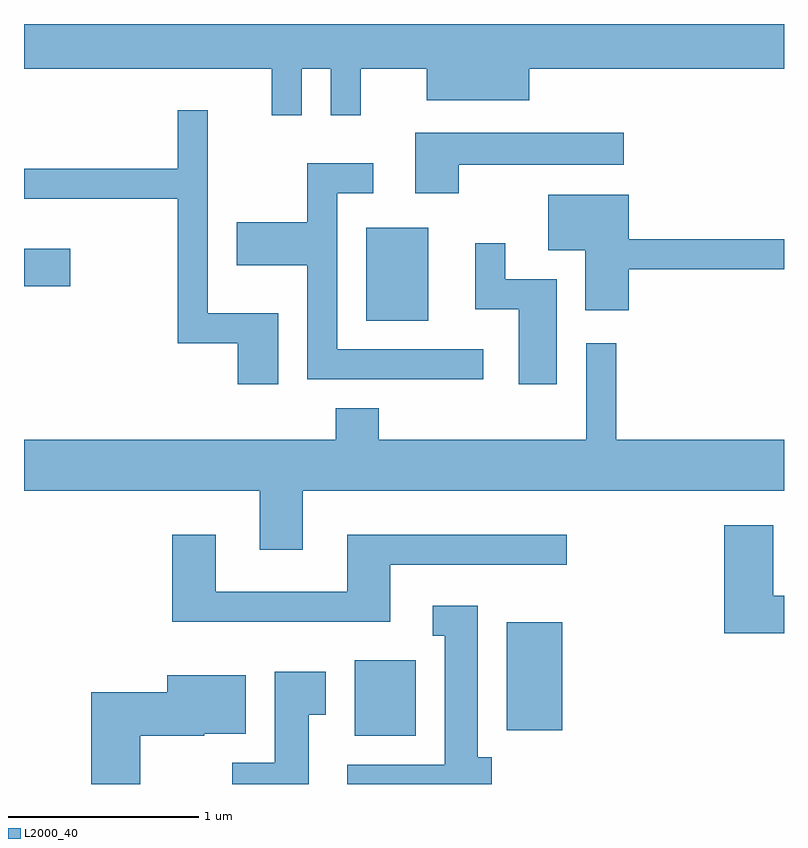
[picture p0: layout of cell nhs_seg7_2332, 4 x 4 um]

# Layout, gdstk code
import gdstk
lib = gdstk.Library(unit=1e-6, precision=1e-09)
def R(c, l, rs):  # rectangles x0, y0, x1, y1
    for r in rs: c.add(gdstk.rectangle(r[:2], r[2:], *l))
def P(c, l, *ps):  # polygons
    for p in ps: c.add(gdstk.Polygon(p, *l))
L2000_40 = (2000, 40)

nhs_seg7_2332 = lib.new_cell('nhs_seg7_2332')
R(nhs_seg7_2332, L2000_40, [(257.351,1788.506,257.674,1788.904), (258.151,1788.536,258.444,1789.104), (257.411,1790.691,257.739,1791.179), (255.611,1790.871,255.854,1791.069)])
P(nhs_seg7_2332, L2000_40, [(257.074,1792.016),(257.226,1792.016),(257.226,1791.773),(257.384,1791.773),(257.384,1792.016),(257.731,1792.016),(257.731,1791.851),(258.269,1791.851),(258.269,1792.016),(259.611,1792.016),(259.611,1792.252),(255.611,1792.252),(255.611,1792.016),(256.916,1792.016),(256.916,1791.773),(257.074,1791.773)],
  [(256.949,1790.729),(256.579,1790.729),(256.579,1791.798),(256.421,1791.798),(256.421,1791.489),(255.611,1791.489),(255.611,1791.331),(256.421,1791.331),(256.421,1790.571),(256.736,1790.571),(256.736,1790.356),(256.949,1790.356)],
  [(257.899,1791.511),(258.767,1791.511),(258.767,1791.679),(257.671,1791.679),(257.671,1791.361),(257.899,1791.361)],
  [(258.028,1790.539),(257.259,1790.539),(257.259,1791.361),(257.448,1791.361),(257.448,1791.519),(257.101,1791.519),(257.101,1791.209),(256.731,1791.209),(256.731,1790.981),(257.101,1790.981),(257.101,1790.381),(258.028,1790.381)],
  [(258.794,1790.961),(259.611,1790.961),(259.611,1791.119),(258.794,1791.119),(258.794,1791.354),(258.371,1791.354),(258.371,1791.061),(258.566,1791.061),(258.566,1790.746),(258.794,1790.746)],
  [(258.414,1790.909),(258.144,1790.909),(258.144,1791.098),(257.986,1791.098),(257.986,1790.751),(258.216,1790.751),(258.216,1790.356),(258.414,1790.356)],
  [(257.079,1789.796),(259.611,1789.796),(259.611,1790.064),(258.729,1790.064),(258.729,1790.573),(258.571,1790.573),(258.571,1790.064),(257.479,1790.064),(257.479,1790.229),(257.251,1790.229),(257.251,1790.064),(255.611,1790.064),(255.611,1789.796),(256.851,1789.796),(256.851,1789.486),(257.079,1789.486)],
  [(259.611,1789.244),(259.554,1789.244),(259.554,1789.614),(259.296,1789.614),(259.296,1789.046),(259.611,1789.046)],
  [(257.539,1789.406),(258.468,1789.406),(258.468,1789.564),(257.311,1789.564),(257.311,1789.264),(256.619,1789.264),(256.619,1789.564),(256.391,1789.564),(256.391,1789.106),(257.539,1789.106)],
  [(258.074,1788.394),(257.999,1788.394),(257.999,1789.189),(257.763,1789.189),(257.763,1789.031),(257.826,1789.031),(257.826,1788.354),(257.311,1788.354),(257.311,1788.252),(258.074,1788.252)],
  [(257.109,1788.616),(257.199,1788.616),(257.199,1788.844),(256.931,1788.844),(256.931,1788.364),(256.706,1788.364),(256.706,1788.252),(257.109,1788.252)],
  [(256.224,1788.506),(256.56,1788.506),(256.56,1788.516),(256.779,1788.516),(256.779,1788.824),(256.366,1788.824),(256.366,1788.734),(255.966,1788.734),(255.966,1788.252),(256.224,1788.252)])

lib.write_gds('nhs_seg7_2332.gds')
